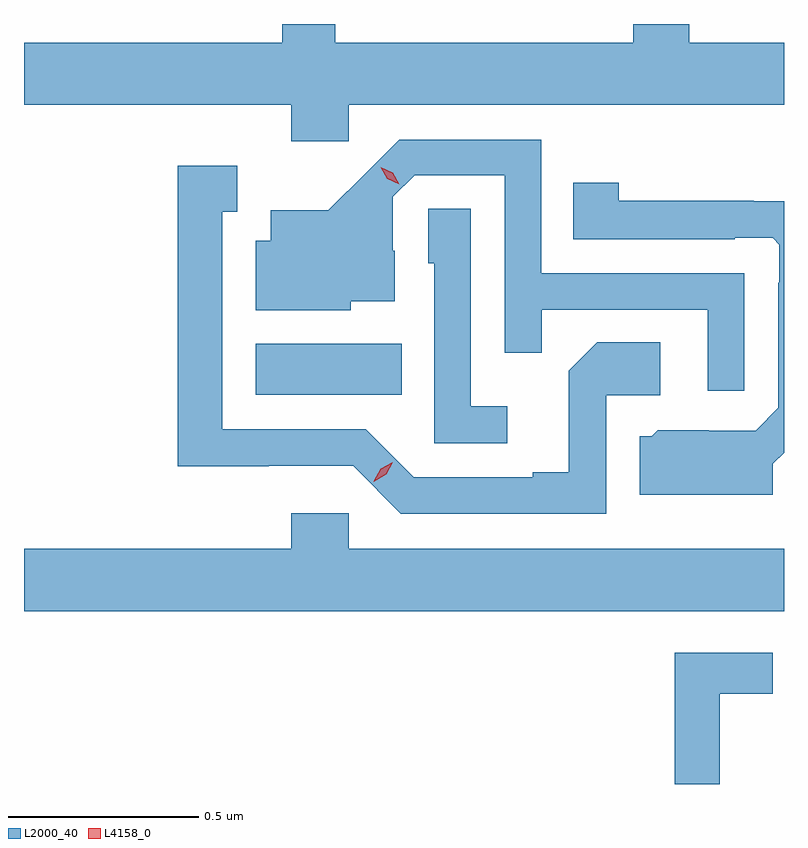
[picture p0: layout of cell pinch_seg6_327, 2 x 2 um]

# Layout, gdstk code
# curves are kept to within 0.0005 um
import gdstk
lib = gdstk.Library(unit=1e-6, precision=1e-09)
def R(c, l, rs):  # rectangles x0, y0, x1, y1
    for r in rs: c.add(gdstk.rectangle(r[:2], r[2:], *l))
def P(c, l, *ps):  # polygons
    for p in ps: c.add(gdstk.Polygon(p, *l))
L2000_40 = (2000, 40)
L4158_0 = (4158, 0)

pinch_seg6_327 = lib.new_cell('pinch_seg6_327')
R(pinch_seg6_327, L2000_40, [(636.428,961.226,636.812,961.36)])
P(pinch_seg6_327, L2000_40, [(636.672,961.988),(637.818,961.988),(637.818,962.152),(637.569,962.152),(637.569,962.201),(637.421,962.201),(637.421,962.152),(636.637,962.152),(636.637,962.201),(636.497,962.201),(636.497,962.152),(635.818,962.152),(635.818,961.988),(636.521,961.988),(636.521,961.893),(636.672,961.893)],
  [(637.713,961.545),(637.179,961.545),(637.179,961.896),(636.806,961.896),(636.619,961.711),(636.467,961.711),(636.467,961.63),(636.428,961.63),(636.428,961.448),(636.678,961.448),(636.678,961.472),(636.793,961.472),(636.793,961.604),(636.789,961.604),(636.789,961.746),(636.846,961.803),(637.083,961.803),(637.083,961.336),(637.181,961.336),(637.181,961.449),(637.617,961.449),(637.617,961.236),(637.713,961.236)],
  [(637.35,961.224),(637.492,961.224),(637.492,961.364),(637.327,961.364),(637.251,961.288),(637.251,961.021),(637.157,961.021),(637.157,961.008),(636.843,961.008),(636.717,961.134),(636.34,961.134),(636.34,961.707),(636.379,961.707),(636.379,961.828),(636.222,961.828),(636.222,961.037),(636.462,961.037),(636.462,961.038),(636.684,961.038),(636.81,960.912),(637.35,960.912)],
  [(637.789,961.044),(637.818,961.073),(637.818,961.735),(637.739,961.735),(637.739,961.736),(637.383,961.736),(637.383,961.783),(637.264,961.783),(637.264,961.635),(637.688,961.635),(637.688,961.638),(637.788,961.638),(637.806,961.62),(637.806,961.52),(637.803,961.52),(637.803,961.191),(637.743,961.131),(637.62,961.131),(637.62,961.132),(637.486,961.132),(637.47,961.116),(637.439,961.116),(637.439,960.962),(637.789,960.962)],
  [(637.09,961.195),(636.993,961.195),(636.993,961.715),(636.882,961.715),(636.882,961.572),(636.897,961.572),(636.897,961.098),(637.09,961.098)],
  [(637.818,960.82),(636.672,960.82),(636.672,960.913),(636.521,960.913),(636.521,960.82),(635.818,960.82),(635.818,960.656),(637.818,960.656)],
  [(637.649,960.438),(637.789,960.438),(637.789,960.546),(637.531,960.546),(637.531,960.201),(637.649,960.201)])
P(pinch_seg6_327, L4158_0, [(636.805,961.779),(636.774,961.794),(636.757,961.824),(636.757,961.824),(636.757,961.824),(636.788,961.809),(636.806,961.779),(636.806,961.779)],
  [(636.739,960.997),(636.739,960.998),(636.757,961.03),(636.789,961.048),(636.789,961.048),(636.789,961.048),(636.771,961.016),(636.739,960.997)])

lib.write_gds('pinch_seg6_327.gds')
